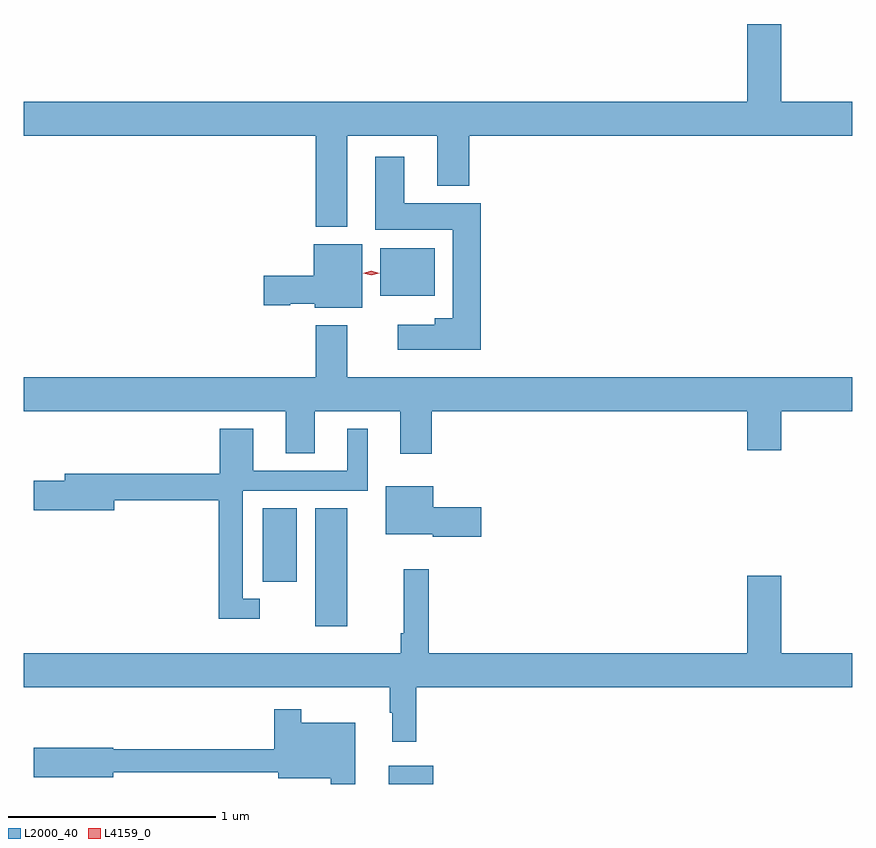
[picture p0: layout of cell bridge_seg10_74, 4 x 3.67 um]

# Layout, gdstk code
import gdstk
lib = gdstk.Library(unit=1e-6, precision=1e-09)
def R(c, l, rs):  # rectangles x0, y0, x1, y1
    for r in rs: c.add(gdstk.rectangle(r[:2], r[2:], *l))
def P(c, l, *ps):  # polygons
    for p in ps: c.add(gdstk.Polygon(p, *l))
L2000_40 = (2000, 40)
L4159_0 = (4159, 0)

bridge_seg10_74 = lib.new_cell('bridge_seg10_74')
R(bridge_seg10_74, L2000_40, [(690.749,1305.176,690.964,1305.265), (690.392,1305.939,690.547,1306.508), (690.14,1306.152,690.304,1306.508), (690.707,1307.534,690.97,1307.764)])
P(bridge_seg10_74, L2000_40, [(690.547,1308.308),(690.983,1308.308),(690.983,1308.065),(691.136,1308.065),(691.136,1308.308),(692.986,1308.308),(692.986,1308.472),(692.644,1308.472),(692.644,1308.847),(692.48,1308.847),(692.48,1308.472),(688.986,1308.472),(688.986,1308.308),(690.395,1308.308),(690.395,1307.867),(690.547,1307.867)],
  [(691.193,1307.98),(690.823,1307.98),(690.823,1308.205),(690.683,1308.205),(690.683,1307.852),(691.058,1307.852),(691.058,1307.425),(690.971,1307.425),(690.971,1307.395),(690.792,1307.395),(690.792,1307.273),(691.193,1307.273)],
  [(690.619,1307.782),(690.386,1307.782),(690.386,1307.63),(690.144,1307.63),(690.144,1307.488),(690.273,1307.488),(690.273,1307.495),(690.39,1307.495),(690.39,1307.477),(690.619,1307.477)],
  [(690.956,1306.976),(692.48,1306.976),(692.48,1306.788),(692.644,1306.788),(692.644,1306.976),(692.986,1306.976),(692.986,1307.14),(690.547,1307.14),(690.547,1307.392),(690.395,1307.392),(690.395,1307.14),(688.986,1307.14),(688.986,1306.976),(690.251,1306.976),(690.251,1306.774),(690.391,1306.774),(690.391,1306.976),(690.803,1306.976),(690.803,1306.77),(690.956,1306.77)],
  [(690.124,1306.071),(690.042,1306.071),(690.042,1306.593),(690.646,1306.593),(690.646,1306.891),(690.548,1306.891),(690.548,1306.689),(690.094,1306.689),(690.094,1306.891),(689.933,1306.891),(689.933,1306.675),(689.183,1306.675),(689.183,1306.641),(689.034,1306.641),(689.034,1306.499),(689.422,1306.499),(689.422,1306.546),(689.926,1306.546),(689.926,1305.974),(690.124,1305.974)],
  [(691.195,1306.512),(690.964,1306.512),(690.964,1306.615),(690.734,1306.615),(690.734,1306.382),(690.96,1306.382),(690.96,1306.37),(691.195,1306.37)],
  [(690.881,1305.644),(692.986,1305.644),(692.986,1305.808),(692.644,1305.808),(692.644,1306.183),(692.48,1306.183),(692.48,1305.808),(690.941,1305.808),(690.941,1306.213),(690.82,1306.213),(690.82,1305.904),(690.805,1305.904),(690.805,1305.808),(688.986,1305.808),(688.986,1305.644),(690.753,1305.644),(690.753,1305.521),(690.764,1305.521),(690.764,1305.381),(690.881,1305.381)],
  [(690.586,1305.472),(690.325,1305.472),(690.325,1305.538),(690.196,1305.538),(690.196,1305.343),(689.418,1305.343),(689.418,1305.351),(689.034,1305.351),(689.034,1305.209),(689.418,1305.209),(689.418,1305.233),(690.215,1305.233),(690.215,1305.203),(690.469,1305.203),(690.469,1305.176),(690.586,1305.176)])
P(bridge_seg10_74, L4159_0, [(690.663,1307.634),(690.625,1307.644),(690.625,1307.644),(690.625,1307.644),(690.664,1307.654),(690.702,1307.644),(690.702,1307.644),(690.702,1307.643)])

lib.write_gds('bridge_seg10_74.gds')
